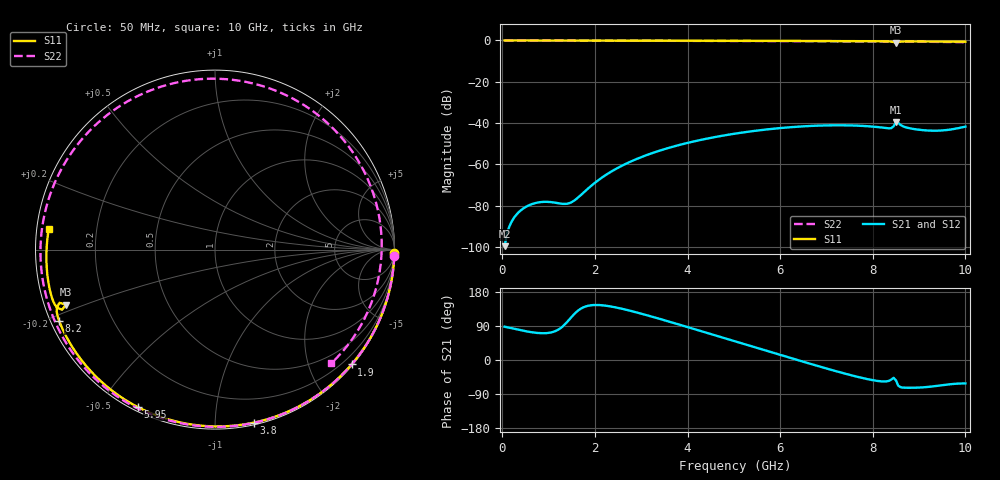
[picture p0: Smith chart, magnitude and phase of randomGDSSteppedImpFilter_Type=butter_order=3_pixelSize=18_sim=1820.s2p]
! freq	dB(S11)	phase(S11)	dB(S12)	phase(S12)
!  dB(S21)	phase(S21)	dB(S22)	phase(S22)
!S-par simulation data
#  GHz  S  DB  R 50
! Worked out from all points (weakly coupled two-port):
!   200 points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, 50 MHz to 10 GHz, reference 50 ohm
!   highest |S21| = -39.51 dB at 8.5 GHz (marker M1); lowest = -99.5 dB at 50 MHz (marker M2)
!   lowest |S11| = -1.1 dB at 8.5 GHz (marker M3), VSWR 16.27, Z = 3.17 - j8.9 ohm
!   |S11| at or under -10 dB: nowhere
!   |S22| runs from -0.9 to 0.0 dB; largest |S21 - S12| = 0
!   S11 on the Smith chart (normalised r, x): 50 MHz: open; 1.9 GHz: 0.03, -2.74; 3.8 GHz: 0.02, -1.25; 5.95 GHz: 0.02, -0.62; 8.2 GHz: 0.02, -0.22; 10 GHz: 0.03, +0.06
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0.05  -0.00 -1.1  -99.52 87.8  -99.52 87.8  -0.01 -2.0
0.55  -0.01 -11.8  -80.02 74.9  -80.02 74.9  -0.02 -22.1
0.7  -0.02 -15.0  -78.75 72.1  -78.75 72.1  -0.03 -28.0
1.4  -0.04 -29.7  -78.98 100.4  -78.98 100.4  -0.07 -55.1
1.75  -0.05 -37.0  -73.71 138.9  -73.71 138.9  -0.08 -68.1
1.9  -0.05 -40.1  -70.72 144.1  -70.72 144.1  -0.09 -73.6
2.55  -0.07 -53.2  -60.99 136.2  -60.99 136.2  -0.12 -96.7
3.4  -0.09 -69.8  -53.29 108.5  -53.29 108.5  -0.15 -125.5
3.8  -0.11 -77.4  -50.70 94.2  -50.70 94.2  -0.17 -138.6
4.45  -0.13 -89.5  -47.36 70.5  -47.36 70.5  -0.21 -159.9
5.05  -0.15 -100.3  -45.00 48.4  -45.00 48.4  -0.24 -179.7
5.95  -0.20 -116.1  -42.50 15.4  -42.50 15.4  -0.31 149.0
6.7  -0.25 -129.0  -41.32 -11.8  -41.32 -11.8  -0.37 120.4
7.5  -0.32 -142.8  -41.10 -39.2  -41.10 -39.2  -0.43 86.2
8.2  -0.40 -155.3  -42.14 -56.5  -42.14 -56.5  -0.50 52.9
8.35  -0.47 -158.6  -42.52 -55.0  -42.52 -55.0  -0.51 45.4
8.45  -0.76 -161.1  -41.50 -47.0  -41.50 -47.0  -0.53 40.3
8.5  -1.07 -159.7  -39.51 -53.6  -39.51 -53.6  -0.53 37.7
8.75  -0.47 -163.3  -42.25 -73.3  -42.25 -73.3  -0.56 24.7
9.25  -0.51 -172.9  -43.64 -70.3  -43.64 -70.3  -0.65 -2.3
9.6  -0.55 -179.4  -43.33 -64.9  -43.33 -64.9  -0.73 -21.7
10  -0.60 173.0  -41.70 -61.9  -41.70 -61.9  -0.86 -44.4
